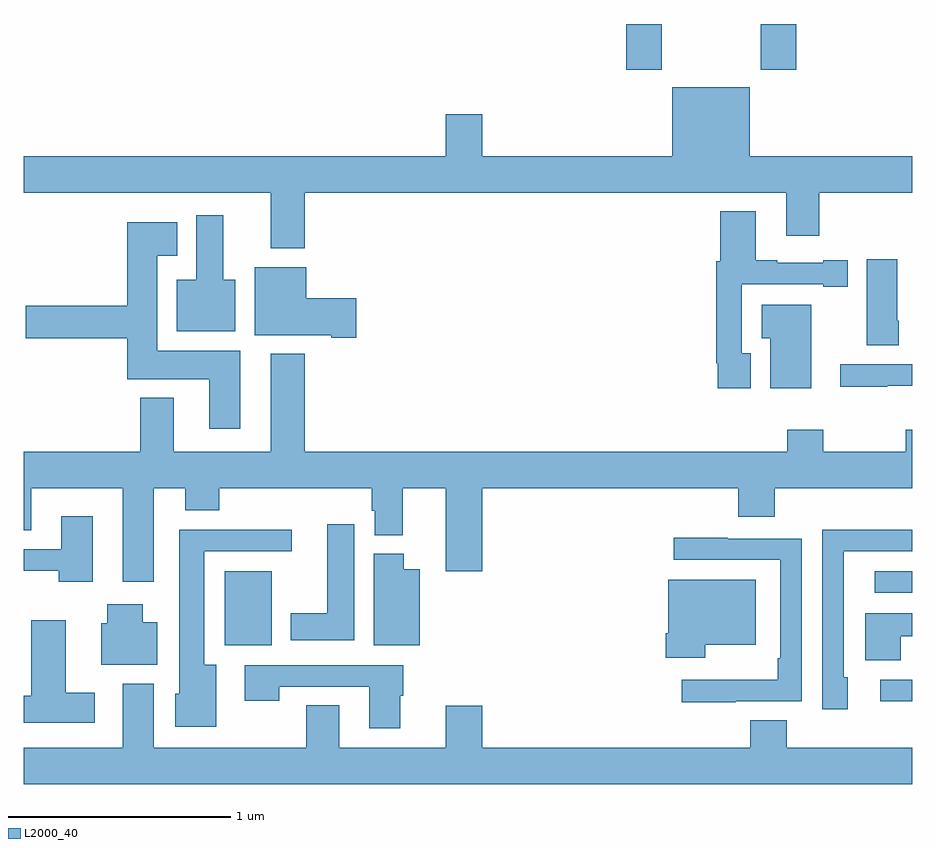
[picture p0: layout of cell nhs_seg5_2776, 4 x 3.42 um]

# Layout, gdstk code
import gdstk
lib = gdstk.Library(unit=1e-6, precision=1e-09)
def R(c, l, rs):  # rectangles x0, y0, x1, y1
    for r in rs: c.add(gdstk.rectangle(r[:2], r[2:], *l))
def P(c, l, *ps):  # polygons
    for p in ps: c.add(gdstk.Polygon(p, *l))
L2000_40 = (2000, 40)

nhs_seg5_2776 = lib.new_cell('nhs_seg5_2776')
R(nhs_seg5_2776, L2000_40, [(274.857,907.748,275,907.845), (271.904,908,272.116,908.335), (274.833,908.238,275,908.334), (273.713,910.593,273.873,910.799), (274.318,910.593,274.478,910.799)])
P(nhs_seg5_2776, L2000_40, [(272.264,910.04),(274.433,910.04),(274.433,909.846),(274.581,909.846),(274.581,910.04),(275,910.04),(275,910.204),(274.27,910.204),(274.27,910.513),(273.92,910.513),(273.92,910.204),(273.064,910.204),(273.064,910.393),(272.9,910.393),(272.9,910.204),(271,910.204),(271,910.04),(272.111,910.04),(272.111,909.788),(272.264,909.788)],
  [(274.273,909.315),(274.233,909.315),(274.233,909.627),(274.601,909.627),(274.601,909.615),(274.711,909.615),(274.711,909.736),(274.601,909.736),(274.601,909.723),(274.393,909.723),(274.393,909.736),(274.297,909.736),(274.297,909.955),(274.136,909.955),(274.136,909.73),(274.117,909.73),(274.117,909.271),(274.125,909.271),(274.125,909.159),(274.273,909.159)],
  [(271.951,909.646),(271.897,909.646),(271.897,909.937),(271.775,909.937),(271.775,909.646),(271.688,909.646),(271.688,909.416),(271.951,909.416)],
  [(271.975,909.328),(271.6,909.328),(271.6,909.755),(271.69,909.755),(271.69,909.907),(271.466,909.907),(271.466,909.53),(271.008,909.53),(271.008,909.383),(271.466,909.383),(271.466,909.2),(271.835,909.2),(271.835,908.976),(271.975,908.976)],
  [(274.941,909.463),(274.933,909.463),(274.933,909.739),(274.796,909.739),(274.796,909.352),(274.941,909.352)],
  [(272.497,909.564),(272.272,909.564),(272.272,909.703),(272.039,909.703),(272.039,909.398),(272.384,909.398),(272.384,909.386),(272.497,909.386)],
  [(274.546,909.535),(274.322,909.535),(274.322,909.383),(274.361,909.383),(274.361,909.158),(274.546,909.158)],
  [(271.585,908.708),(271.727,908.708),(271.727,908.609),(271.88,908.609),(271.88,908.708),(272.567,908.708),(272.567,908.607),(272.579,908.607),(272.579,908.497),(272.707,908.497),(272.707,908.708),(272.9,908.708),(272.9,908.334),(273.064,908.334),(273.064,908.708),(274.217,908.708),(274.217,908.58),(274.382,908.58),(274.382,908.708),(275,908.708),(275,908.971),(274.972,908.971),(274.972,908.872),(274.599,908.872),(274.599,908.971),(274.439,908.971),(274.439,908.872),(272.264,908.872),(272.264,909.313),(272.111,909.313),(272.111,908.872),(271.675,908.872),(271.675,909.115),(271.523,909.115),(271.523,908.872),(271,908.872),(271,908.518),(271.033,908.518),(271.033,908.708),(271.445,908.708),(271.445,908.286),(271.585,908.286)],
  [(274.889,909.17),(275,909.17),(275,909.267),(274.677,909.267),(274.677,909.166),(274.889,909.166)],
  [(271.309,908.581),(271.169,908.581),(271.169,908.433),(271,908.433),(271,908.337),(271.157,908.337),(271.157,908.286),(271.309,908.286)],
  [(272.488,908.545),(272.366,908.545),(272.366,908.146),(272.201,908.146),(272.201,908.024),(272.488,908.024)],
  [(271.867,907.912),(271.813,907.912),(271.813,908.424),(272.206,908.424),(272.206,908.522),(271.7,908.522),(271.7,907.782),(271.682,907.782),(271.682,907.634),(271.867,907.634)],
  [(274.711,907.857),(274.692,907.857),(274.692,908.17),(274.693,908.17),(274.693,908.424),(275,908.424),(275,908.522),(274.596,908.522),(274.596,907.713),(274.711,907.713)],
  [(274.207,907.749),(274.503,907.749),(274.503,908.481),(274.171,908.481),(274.171,908.485),(273.927,908.485),(273.927,908.385),(274.407,908.385),(274.407,907.942),(274.395,907.942),(274.395,907.846),(273.963,907.846),(273.963,907.745),(274.207,907.745)],
  [(272.782,908.344),(272.71,908.344),(272.71,908.412),(272.576,908.412),(272.576,908),(272.782,908)],
  [(274.068,908.003),(274.297,908.003),(274.297,908.296),(273.902,908.296),(273.902,908.056),(273.89,908.056),(273.89,907.944),(274.068,907.944)],
  [(271.6,908.104),(271.534,908.104),(271.534,908.185),(271.376,908.185),(271.376,908.1),(271.349,908.1),(271.349,907.913),(271.6,907.913)],
  [(274.948,908.042),(275,908.042),(275,908.146),(274.79,908.146),(274.79,907.934),(274.948,907.934)],
  [(271.318,907.787),(271.189,907.787),(271.189,908.113),(271.034,908.113),(271.034,907.774),(271,907.774),(271,907.652),(271.318,907.652)],
  [(272.695,907.773),(272.708,907.773),(272.708,907.911),(271.995,907.911),(271.995,907.752),(272.151,907.752),(272.151,907.815),(272.555,907.815),(272.555,907.626),(272.695,907.626)],
  [(275,907.54),(274.436,907.54),(274.436,907.664),(274.271,907.664),(274.271,907.54),(273.064,907.54),(273.064,907.729),(272.9,907.729),(272.9,907.54),(272.419,907.54),(272.419,907.73),(272.272,907.73),(272.272,907.54),(271.585,907.54),(271.585,907.828),(271.445,907.828),(271.445,907.54),(271,907.54),(271,907.376),(275,907.376)])

lib.write_gds('nhs_seg5_2776.gds')
